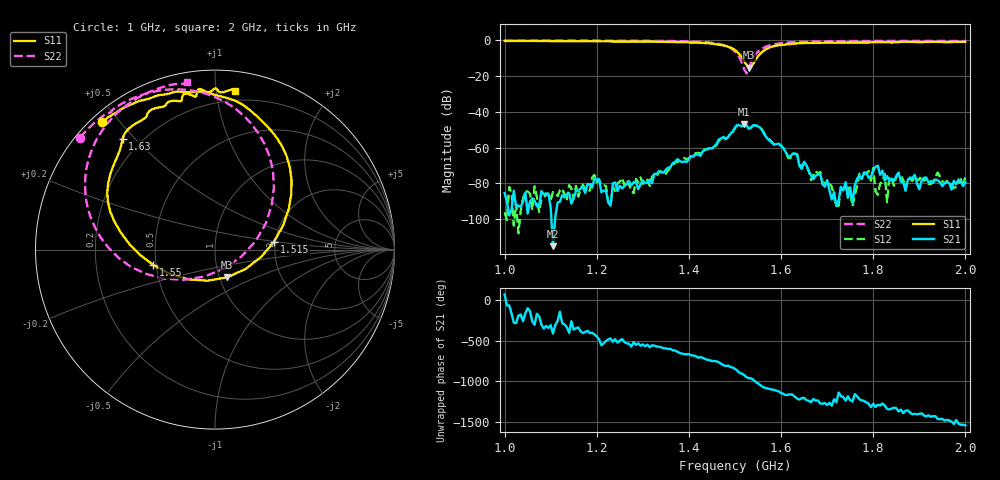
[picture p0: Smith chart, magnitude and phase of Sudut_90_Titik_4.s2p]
# Hz S RI R 50
! CMT, C1220, 16058040, 17.2.0/1
! Date: 14/08/2018 12:29:50
! Data: Format (Calibration Info)
! Freq  S11: Re/Im (F2)  S21: Re/Im (F2)  S12: Re/Im (F2)  S22: Re/Im (F2)
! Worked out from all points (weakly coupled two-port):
!   201 points, 1 GHz to 2 GHz, reference 50 ohm
!   highest |S21| = -46.89 dB at 1.52 GHz (marker M1); lowest = -115.1 dB at 1.105 GHz (marker M2)
!   lowest |S11| = -15.4 dB at 1.53 GHz (marker M3), VSWR 1.41, Z = 54.5 - j17.3 ohm
!   |S11| at or under -10 dB: 1.516 GHz to 1.547 GHz (31.31 MHz wide, 2.04 % of centre)
!   |S22| runs from -18.6 to -0.2 dB; largest |S21 - S12| = 0.00032
!   S11 on the Smith chart (normalised r, x): 1 GHz: 0.03, +0.45; 1.515 GHz: 1.97, +0.19; 1.55 GHz: 0.48, -0.09; 1.63 GHz: 0.13, +0.46; 2 GHz: 0.13, +1.13
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1e9  -0.6274 0.7093  2.07e-05 4.93e-05  4.57e-06 -1.5e-05  -0.7528 0.6242
1.105e9  -0.5274 0.7801  1.05e-06 -1.42e-06  4.71e-06 5.71e-05  -0.6763 0.7021
1.17e9  -0.4512 0.8154  5.47e-05 -5.69e-05  7.1e-05 -5.96e-05  -0.6167 0.7494
1.32e9  -0.2066 0.881  -9.69e-05 2.99e-05  -0.000147 4.54e-05  -0.4301 0.8538
1.335e9  -0.186 0.8783  -0.000179 0.000125  -0.000141 0.000158  -0.4013 0.8636
1.45e9  0.2028 0.77  0.000821 -0.000475  0.000848 -0.000526  0.0214 0.8402
1.5e9  0.4253 0.3112  -0.00211 -0.00295  -0.00202 -0.00278  0.3286 0.3473
1.515e9  0.3284 0.0436  -0.00393 0.000393  -0.00396 0.000261  0.2264 0.0474
1.52e9  0.2586 -0.0393  -0.00416 0.00177  -0.00424 0.00171  0.1468 -0.0389
1.53e9  0.0683 -0.1545  -0.00159 0.00289  -0.00166 0.00291  -0.0603 -0.1507
1.55e9  -0.3437 -0.086  0.00228 0.00316  0.00217 0.00328  -0.4677 -0.0965
1.615e9  -0.5303 0.5535  4.67e-05 -0.000574  -2.64e-06 -0.000521  -0.7118 0.4738
1.63e9  -0.5149 0.6185  -0.000236 -0.00063  -0.000195 -0.00065  -0.6909 0.5434
1.67e9  -0.3953 0.7287  -9.39e-05 -9.04e-05  -0.000129 -0.000113  -0.624 0.6707
1.765e9  -0.2197 0.8289  -3.22e-05 -0.00013  -4.01e-05 -7.31e-05  -0.4765 0.8156
1.79e9  -0.1843 0.8385  -0.000137 4.11e-05  -0.000212 6.4e-05  -0.4395 0.839
1.795e9  -0.1833 0.8475  -8.5e-05 0.000132  -9.02e-05 7.65e-05  -0.4327 0.8429
1.8e9  -0.1808 0.8568  -0.000218 6.74e-05  -0.000264 -3.46e-05  -0.4257 0.8473
1.81e9  -0.1682 0.8679  -0.000277 0.000146  -4.78e-05 5.01e-06  -0.412 0.8555
1.835e9  -0.1126 0.8526  -7.54e-06 0.000117  -6.85e-05 0.000139  -0.3781 0.8723
1.855e9  -0.101 0.8748  7.22e-05 0.000187  0.000121 0.000149  -0.3506 0.884
2e9  0.112 0.8847  -2.31e-05 -0.000102  -5.12e-05 -0.000147  -0.1543 0.9316
